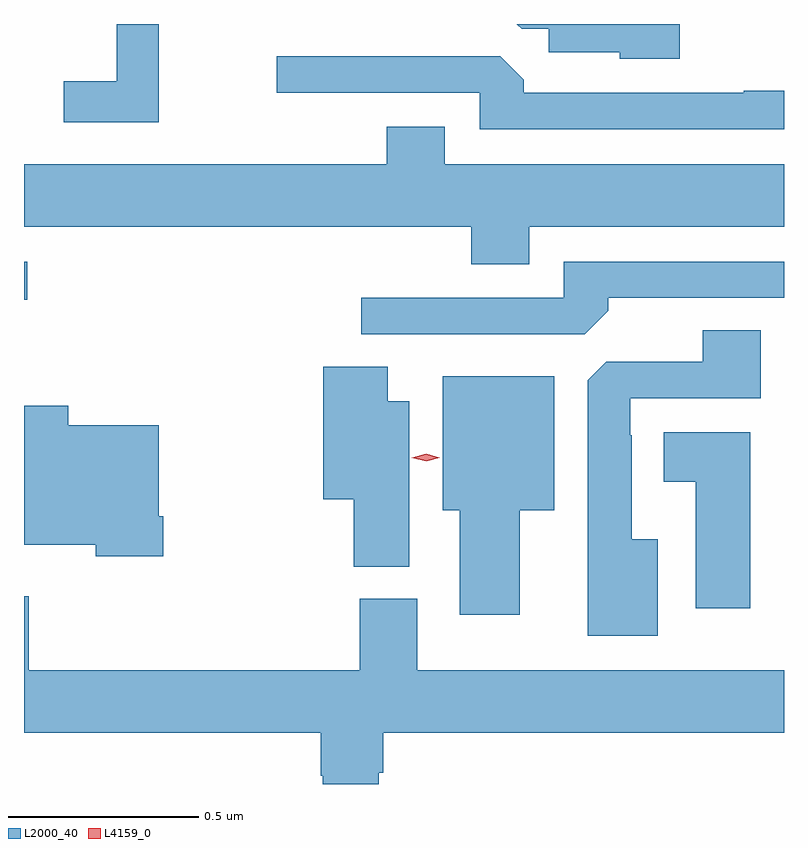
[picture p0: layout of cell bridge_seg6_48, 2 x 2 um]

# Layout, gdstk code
import gdstk
lib = gdstk.Library(unit=1e-6, precision=1e-09)
def R(c, l, rs):  # rectangles x0, y0, x1, y1
    for r in rs: c.add(gdstk.rectangle(r[:2], r[2:], *l))
def P(c, l, *ps):  # polygons
    for p in ps: c.add(gdstk.Polygon(p, *l))
L2000_40 = (2000, 40)
L4159_0 = (4159, 0)

bridge_seg6_48 = lib.new_cell('bridge_seg6_48')
R(bridge_seg6_48, L2000_40, [(1092.22,981.775,1092.229,981.876)])
P(bridge_seg6_48, L2000_40, [(1092.574,982.501),(1092.464,982.501),(1092.464,982.351),(1092.324,982.351),(1092.324,982.242),(1092.574,982.242)],
  [(1093.945,982.501),(1093.517,982.501),(1093.53,982.488),(1093.601,982.488),(1093.601,982.427),(1093.788,982.427),(1093.788,982.409),(1093.945,982.409)],
  [(1094.22,982.325),(1094.114,982.325),(1094.114,982.32),(1093.535,982.32),(1093.535,982.354),(1093.473,982.416),(1092.885,982.416),(1092.885,982.32),(1093.419,982.32),(1093.419,982.224),(1094.22,982.224)],
  [(1093.549,981.968),(1094.22,981.968),(1094.22,982.132),(1093.327,982.132),(1093.327,982.231),(1093.175,982.231),(1093.175,982.132),(1092.22,982.132),(1092.22,981.968),(1093.397,981.968),(1093.397,981.869),(1093.549,981.869)],
  [(1093.757,981.746),(1093.757,981.78),(1094.22,981.78),(1094.22,981.876),(1093.641,981.876),(1093.641,981.78),(1093.107,981.78),(1093.107,981.684),(1093.695,981.684)],
  [(1093.888,981.145),(1093.819,981.145),(1093.819,981.419),(1093.815,981.419),(1093.815,981.516),(1094.159,981.516),(1094.159,981.695),(1094.006,981.695),(1094.006,981.612),(1093.752,981.612),(1093.703,981.563),(1093.703,980.891),(1093.888,980.891)],
  [(1093.234,981.508),(1093.177,981.508),(1093.177,981.599),(1093.007,981.599),(1093.007,981.251),(1093.088,981.251),(1093.088,981.073),(1093.234,981.073)],
  [(1093.525,981.221),(1093.615,981.221),(1093.615,981.574),(1093.322,981.574),(1093.322,981.221),(1093.367,981.221),(1093.367,980.946),(1093.525,980.946)],
  [(1092.587,981.205),(1092.574,981.205),(1092.574,981.445),(1092.337,981.445),(1092.337,981.496),(1092.22,981.496),(1092.22,981.131),(1092.409,981.131),(1092.409,981.101),(1092.587,981.101)],
  [(1094.131,981.427),(1093.904,981.427),(1093.904,981.296),(1093.988,981.296),(1093.988,980.964),(1094.131,980.964)],
  [(1093.153,980.53),(1093.166,980.53),(1093.166,980.636),(1094.22,980.636),(1094.22,980.8),(1093.255,980.8),(1093.255,980.988),(1093.103,980.988),(1093.103,980.8),(1092.233,980.8),(1092.233,980.995),(1092.22,980.995),(1092.22,980.636),(1093.001,980.636),(1093.001,980.523),(1093.006,980.523),(1093.006,980.501),(1093.153,980.501)])
P(bridge_seg6_48, L4159_0, [(1093.278,981.35),(1093.241,981.36),(1093.241,981.36),(1093.241,981.36),(1093.278,981.37),(1093.314,981.36),(1093.314,981.36),(1093.314,981.36)])

lib.write_gds('bridge_seg6_48.gds')
